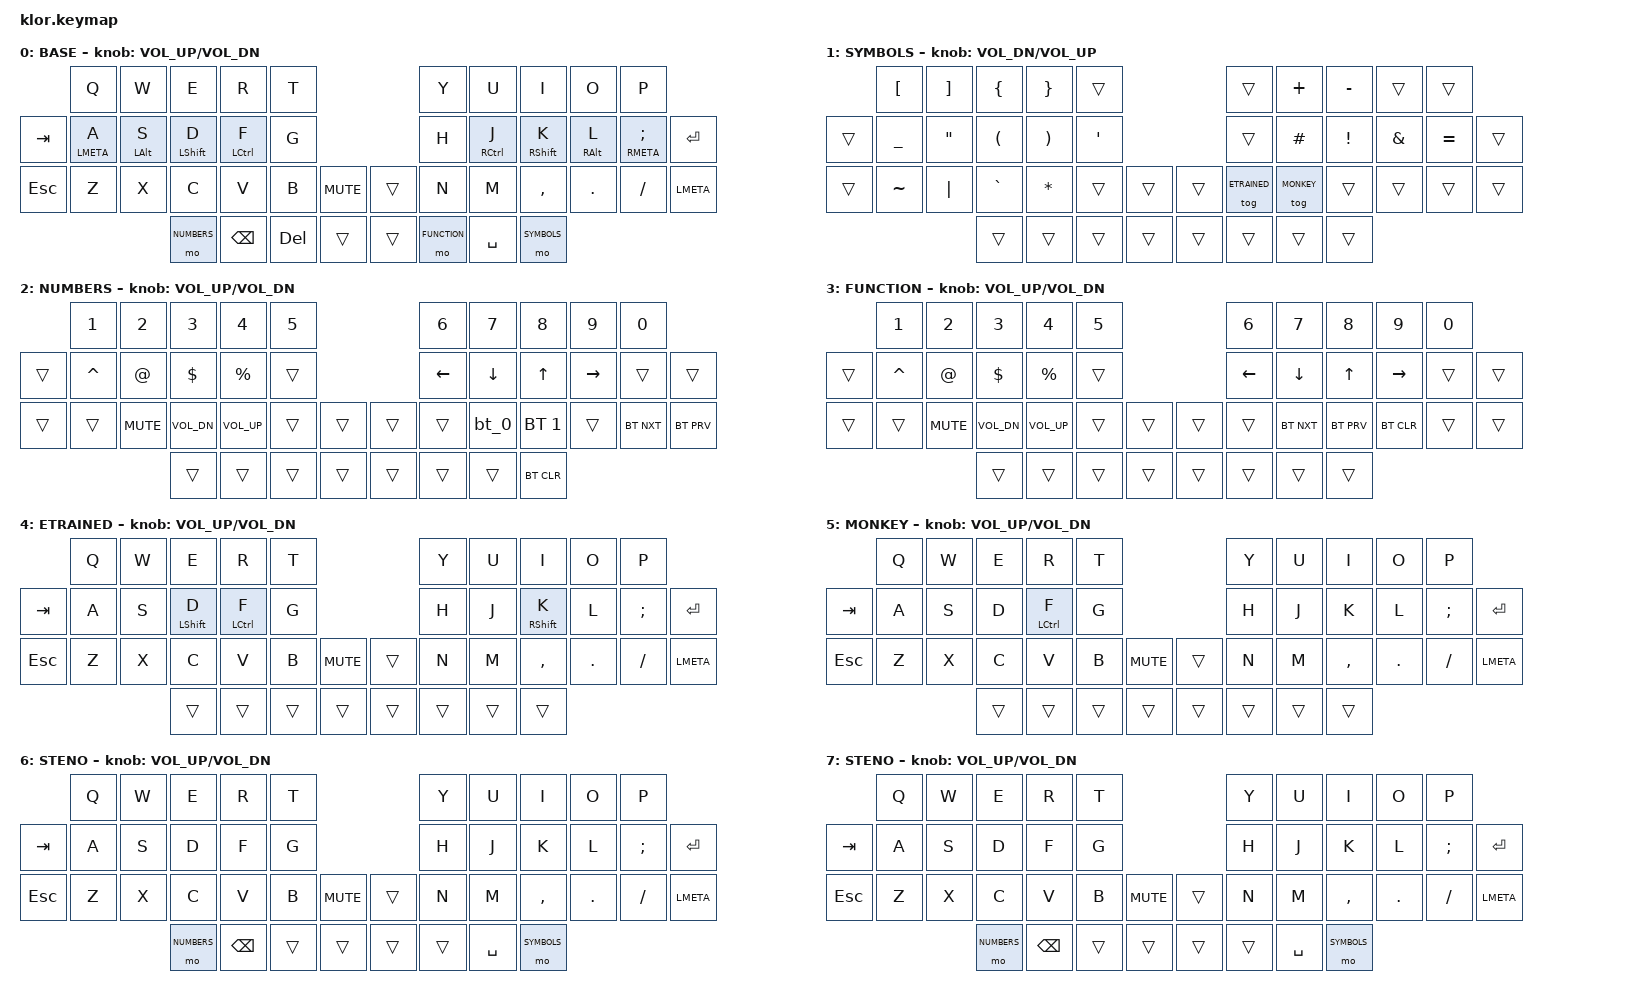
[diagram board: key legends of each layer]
#include <behaviors.dtsi>
#include <dt-bindings/zmk/bt.h>
#include <dt-bindings/zmk/ext_power.h>
#include <dt-bindings/zmk/keys.h>
#include <dt-bindings/zmk/outputs.h>
#include <dt-bindings/zmk/rgb.h>

#define BASE 0
#define SYMBOLS 1
#define NUMBERS 2
#define FUNCTION 3
#define ETRAINED 4
#define MONKEY 5
#define NO_HRM 6
#define STENO 7

#define NC &trans

/ {
    macros {
        bt_0: bt_0 {
            compatible = "zmk,behavior-macro";
            #binding-cells = <0>;
            bindings
                = <&macro_tap &bt BT_DISC 1 &bt BT_SEL 0>;
        };
    };
};

/{
  behaviors
  {
    hrm_fast: homerow_mods_fast
    {
      compatible = "zmk,behavior-hold-tap";
      label = "HOMEROW_MODS";
      #binding-cells = <2>;
      tapping-term-ms = <140>;
      quick_tap_ms = <300>;
      flavor = "tap-preferred";
      bindings = <&kp>, <&kp>;
    };

    hrm_med: homerow_mods_medium
    {
      compatible = "zmk,behavior-hold-tap";
      label = "HOMEROW_MODS";
      #binding-cells = <2>;
      tapping-term-ms = <170>;
      quick_tap_ms = <300>;
      flavor = "tap-preferred";
      bindings = <&kp>, <&kp>;
    };

    hrm_slow: homerow_mods_slow
    {
      compatible = "zmk,behavior-hold-tap";
      label = "HOMEROW_MODS";
      #binding-cells = <2>;
      tapping-term-ms = <200>;
      quick_tap_ms = <300>;
      flavor = "tap-preferred";
      bindings = <&kp>, <&kp>;
    };
  };

  combos
  {
    compatible = "zmk,combos";
    combo_esc
    {
      timeout-ms = <50>;
      key-positions = <0 1>;
      bindings = <&kp ESC>;
    };
  };

keymap
{
  compatible = "zmk,keymap";
  base_layer
  {
    label = "BASE";
    bindings = <
                  &kp Q             &kp W           &kp E               &kp R             &kp T                           &kp Y         &kp U             &kp I               &kp O           &kp P
        &kp TAB   &hrm_slow LMETA A &hrm_med LALT S &hrm_fast LSHIFT  D &hrm_fast LCTRL F &kp G                           &kp H         &hrm_fast RCTRL J &hrm_fast RSHIFT  K &hrm_med RALT L &hrm_slow RMETA SEMI  &kp RET
        &kp ESC   &kp Z             &kp X           &kp C               &kp V             &kp B     &kp C_MUTE  &trans    &kp N         &kp M             &kp COMMA           &kp DOT         &kp FSLH              &kp LMETA
                                                    &mo NUMBERS         &kp BSPC          &kp DEL   NC          NC        &mo FUNCTION  &kp SPACE         &mo SYMBOLS
      >;
    sensor-bindings = <&inc_dec_kp C_VOL_UP C_VOL_DN>;
  };

  symbols_layer
  {
    label = "SYMBOLS";
    bindings = <
                &kp LBKT  &kp RBKT  &kp LBRC  &kp RBRC  &trans                  &trans        &kp PLUS    &kp MINUS &trans    &trans
        &trans  &kp UNDER &kp DQT   &kp LPAR  &kp RPAR  &kp SQT                 &trans        &kp HASH    &kp EXCL  &kp AMPS  &kp EQUAL &trans
        &trans  &kp TILDE &kp PIPE  &kp GRAVE &kp STAR  &trans  &trans  &trans  &tog ETRAINED &tog MONKEY &trans    &trans    &trans    &trans
                                    &trans    &trans    &trans  NC       NC     &trans        &trans      &trans  

        /*
                &ext_power EP_TOG &trans    &kp UP    &trans    &kp LBRC                    &kp RBRC    &kp KP_N7   &kp KP_N8   &kp KP_N9   &kp KP_PLUS
        &trans  &rgb_ug RGB_EFF   &kp LEFT  &kp DOWN  &kp RIGHT &kp LBKT                    &kp RBKT    &kp KP_N4   &kp KP_N5   &kp KP_N6   &kp KP_MINUS    &trans
        &trans  &trans            &kp PG_UP &kp CAPS  &kp PG_DN &kp LPAR  &trans  &trans    &kp RPAR    &kp KP_N1   &kp KP_N2   &kp KP_N3   &kp KP_MULTIPLY &trans
                                            &trans    &trans    &trans    &trans  &trans    &kp DELETE  &kp KP_N0   &trans
        */
      >;
    sensor-bindings = <&inc_dec_kp C_VOL_DN C_VOL_UP>;
  };

  numbers_layer
  {
    label = "NUMBERS";
    bindings = <
                    &kp N1      &kp N2      &kp N3           &kp N4          &kp N5                     &kp N6     &kp N7   &kp N8        &kp N9      &kp N0
          &trans    &kp CARET   &kp AT      &kp DOLLAR       &kp PRCNT       &trans                     &kp LEFT   &kp DOWN &kp UP        &kp RIGHT   &trans      &trans
          &trans    &trans      &kp C_MUTE  &kp C_VOL_DN     &kp C_VOL_UP    &trans   &trans   &trans   &trans     &bt_0    &bt BT_SEL 1  &trans      &bt BT_NXT  &bt BT_PRV
                                            &trans           &trans          &trans   NC       NC       &trans     &trans   &bt BT_CLR  

        //&trans &trans &trans &trans &trans &trans &trans &kp RA(U) &trans &trans &kp RA(A) &trans &kp RA(S) &trans &trans &trans &trans &trans &trans &trans &kp RA(O) &trans &trans &trans &trans &trans &trans &trans &trans &trans &trans &trans &trans &trans &trans &trans &mo ADJUST &trans &trans &trans &trans &trans &trans &trans
      >;
    sensor-bindings = <&inc_dec_kp C_VOL_UP C_VOL_DN>;
  };

  function_layer
  {
    label = "FUNCTION";
    bindings = <
                    &kp N1      &kp N2      &kp N3           &kp N4          &kp N5                     &kp N6     &kp N7     &kp N8      &kp N9      &kp N0
          &trans    &kp CARET   &kp AT      &kp DOLLAR       &kp PRCNT       &trans                     &kp LEFT   &kp DOWN   &kp UP      &kp RIGHT   &trans   &trans
          &trans    &trans      &kp C_MUTE  &kp C_VOL_DN     &kp C_VOL_UP    &trans   &trans   &trans   &trans     &bt BT_NXT &bt BT_PRV  &bt BT_CLR  &trans   &trans
                                            &trans           &trans          &trans   NC       NC       &trans     &trans     &trans  
      >;
    sensor-bindings = <&inc_dec_kp C_VOL_UP C_VOL_DN>;
  };

  entertrained_layer
  {
    label = "ETRAINED";
    bindings = <
                  &kp Q     &kp W     &kp E               &kp R             &kp T                           &kp Y     &kp U     &kp I               &kp O     &kp P
        &kp TAB   &kp A     &kp S     &hrm_fast LSHIFT D  &hrm_fast LCTRL F &kp G                           &kp H     &kp J     &hrm_fast RSHIFT  K &kp L     &kp SEMI  &kp RET
        &kp ESC   &kp Z     &kp X     &kp C               &kp V             &kp B     &kp C_MUTE  &trans    &kp N     &kp M     &kp COMMA           &kp DOT   &kp FSLH  &kp LMETA
                                      &trans              &trans            &trans    NC          NC        &trans    &trans    &trans
      >;
    sensor-bindings = <&inc_dec_kp C_VOL_UP C_VOL_DN>;
  };

  monkeytype_layer
  {
    label = "MONKEY";
    bindings = <
                  &kp Q     &kp W     &kp E       &kp R             &kp T                           &kp Y     &kp U     &kp I       &kp O     &kp P
        &kp TAB   &kp A     &kp S     &kp D       &hrm_fast LCTRL F &kp G                           &kp H     &kp J     &kp K       &kp L     &kp SEMI  &kp RET
        &kp ESC   &kp Z     &kp X     &kp C       &kp V             &kp B     &kp C_MUTE  &trans    &kp N     &kp M     &kp COMMA   &kp DOT   &kp FSLH  &kp LMETA
                                      &trans      &trans            &trans    NC          NC        &trans    &trans    &trans
      >;
    sensor-bindings = <&inc_dec_kp C_VOL_UP C_VOL_DN>;
  };

  no_hrm_layer
  {
    label = "STENO";
    bindings = <
                  &kp Q     &kp W     &kp E       &kp R     &kp T                           &kp Y     &kp U     &kp I       &kp O     &kp P
        &kp TAB   &kp A     &kp S     &kp D       &kp F     &kp G                           &kp H     &kp J     &kp K       &kp L     &kp SEMI  &kp RET
        &kp ESC   &kp Z     &kp X     &kp C       &kp V     &kp B     &kp C_MUTE  &trans    &kp N     &kp M     &kp COMMA   &kp DOT   &kp FSLH  &kp LMETA
                                      &mo NUMBERS &kp BSPC  &trans    NC          NC        &trans    &kp SPACE &mo SYMBOLS
      >;
    sensor-bindings = <&inc_dec_kp C_VOL_UP C_VOL_DN>;
  };

  steno_layer
  {
    label = "STENO";
    bindings = <
                  &kp Q     &kp W     &kp E       &kp R     &kp T                           &kp Y     &kp U     &kp I       &kp O     &kp P
        &kp TAB   &kp A     &kp S     &kp D       &kp F     &kp G                           &kp H     &kp J     &kp K       &kp L     &kp SEMI  &kp RET
        &kp ESC   &kp Z     &kp X     &kp C       &kp V     &kp B     &kp C_MUTE  &trans    &kp N     &kp M     &kp COMMA   &kp DOT   &kp FSLH  &kp LMETA
                                      &mo NUMBERS &kp BSPC  &trans    NC          NC        &trans    &kp SPACE &mo SYMBOLS
      >;
    sensor-bindings = <&inc_dec_kp C_VOL_UP C_VOL_DN>;
  };

};
};
